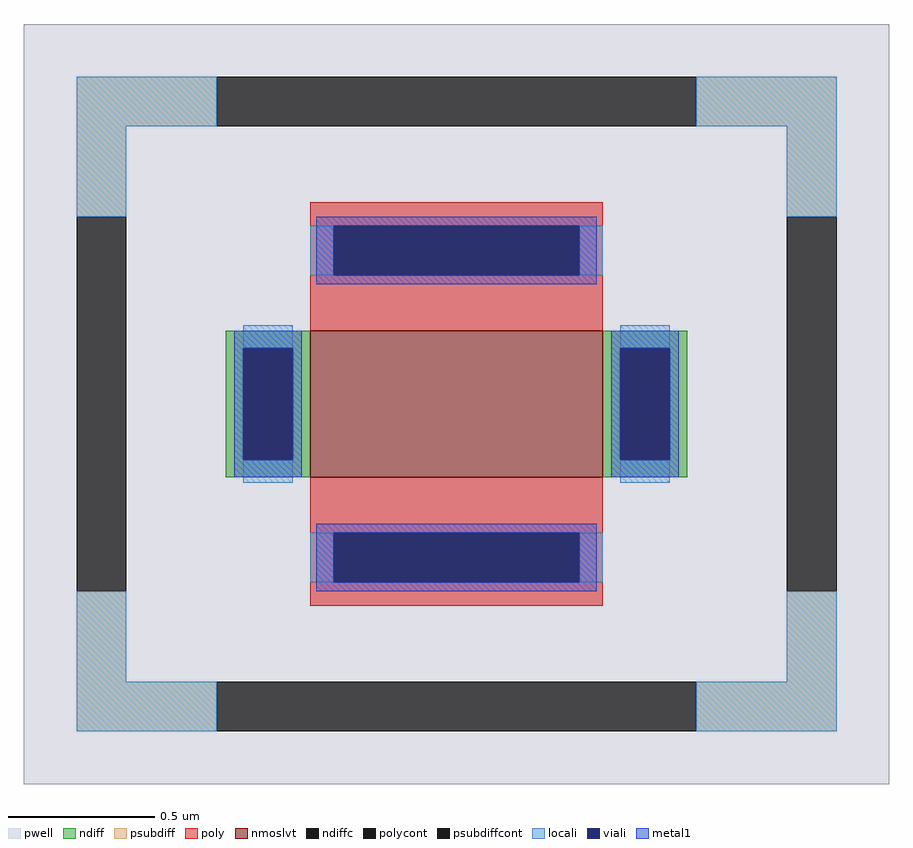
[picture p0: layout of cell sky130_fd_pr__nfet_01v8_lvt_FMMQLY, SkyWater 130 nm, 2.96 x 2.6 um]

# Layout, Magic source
magic
tech sky130A
<< pwell >>
rect -148 -130 148 130
<< nmoslvt >>
rect -50 -25 50 25
<< ndiff >>
rect -79 19 -50 25
rect -79 -19 -73 19
rect -56 -19 -50 19
rect -79 -25 -50 -19
rect 50 19 79 25
rect 50 -19 56 19
rect 73 -19 79 19
rect 50 -25 79 -19
<< ndiffc >>
rect -73 -19 -56 19
rect 56 -19 73 19
<< psubdiff >>
rect -130 95 -82 112
rect 82 95 130 112
rect -130 64 -113 95
rect 113 64 130 95
rect -130 -95 -113 -64
rect 113 -95 130 -64
rect -130 -112 -82 -95
rect 82 -112 130 -95
<< psubdiffcont >>
rect -82 95 82 112
rect -130 -64 -113 64
rect 113 -64 130 64
rect -82 -112 82 -95
<< poly >>
rect -50 61 50 69
rect -50 44 -42 61
rect 42 44 50 61
rect -50 25 50 44
rect -50 -44 50 -25
rect -50 -61 -42 -44
rect 42 -61 50 -44
rect -50 -69 50 -61
<< polycont >>
rect -42 44 42 61
rect -42 -61 42 -44
<< locali >>
rect -130 95 -82 112
rect 82 95 130 112
rect -130 64 -113 95
rect 113 64 130 95
rect -50 44 -42 61
rect 42 44 50 61
rect -73 19 -56 27
rect -73 -27 -56 -19
rect 56 19 73 27
rect 56 -27 73 -19
rect -50 -61 -42 -44
rect 42 -61 50 -44
rect -130 -95 -113 -64
rect 113 -95 130 -64
rect -130 -112 -82 -95
rect 82 -112 130 -95
<< viali >>
rect -42 44 42 61
rect -73 -19 -56 19
rect 56 -19 73 19
rect -42 -61 42 -44
<< metal1 >>
rect -48 61 48 64
rect -48 44 -42 61
rect 42 44 48 61
rect -48 41 48 44
rect -76 19 -53 25
rect -76 -19 -73 19
rect -56 -19 -53 19
rect -76 -25 -53 -19
rect 53 19 76 25
rect 53 -19 56 19
rect 73 -19 76 19
rect 53 -25 76 -19
rect -48 -44 48 -41
rect -48 -61 -42 -44
rect 42 -61 48 -44
rect -48 -64 48 -61
<< properties >>
string FIXED_BBOX -121 -103 121 103
string gencell sky130_fd_pr__nfet_01v8_lvt
string library sky130
string parameters w 0.5 l 1.0 m 1 nf 1 diffcov 100 polycov 100 guard 1 glc 1 grc 1 gtc 1 gbc 1 tbcov 100 rlcov 100 topc 1 botc 1 poverlap 0 doverlap 1 lmin 0.15 wmin 0.42 compatible {sky130_fd_pr__nfet_01v8 sky130_fd_pr__nfet_01v8_lvt  sky130_fd_bs_flash__special_sonosfet_star  sky130_fd_pr__nfet_g5v0d10v5 sky130_fd_pr__nfet_05v0_nvt  sky130_fd_pr__nfet_03v3_nvt} full_metal 1 viasrc 100 viadrn 100 viagate 100 viagb 0 viagr 0 viagl 0 viagt 0
<< end >>
